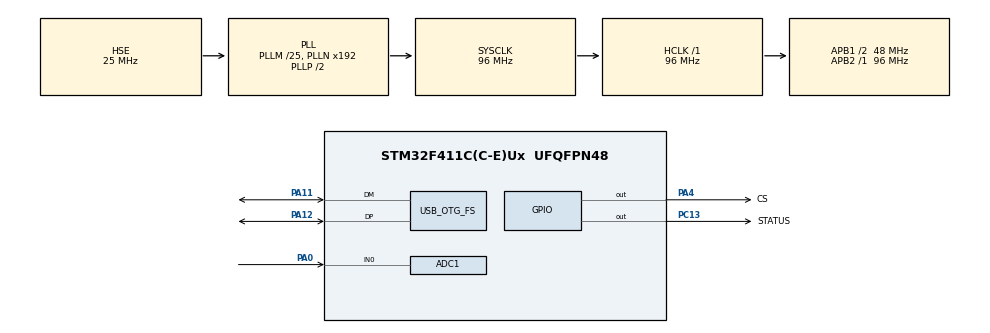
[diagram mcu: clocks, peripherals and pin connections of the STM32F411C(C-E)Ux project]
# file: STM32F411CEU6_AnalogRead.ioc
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ADC1.Channel-1\#ChannelRegularConversion=ADC_CHANNEL_0
ADC1.NbrOfConversionFlag=1
ADC1.Rank-1\#ChannelRegularConversion=1
ADC1.SamplingTime-1\#ChannelRegularConversion=ADC_SAMPLETIME_3CYCLES
ADC1.master=1
Mcu.Family=STM32F4
Mcu.Name=STM32F411C(C-E)Ux
Mcu.Package=UFQFPN48
NVIC.OTG_FS_IRQn=true\:0\:0\:false\:false\:true\:false\:true\:true
NVIC.PriorityGroup=NVIC_PRIORITYGROUP_4
NVIC.TIM4_IRQn=true\:0\:0\:false\:false\:true\:true\:true\:true
PA0-WKUP.Signal=ADCx_IN0
PA11.Mode=Device_Only
PA11.Signal=USB_OTG_FS_DM
PA12.Mode=Device_Only
PA12.Signal=USB_OTG_FS_DP
PA4.GPIO_Label=CS
PA4.Signal=GPIO_Output
PC13-ANTI_TAMP.GPIO_Label=STATUS
PC13-ANTI_TAMP.Signal=GPIO_Output
PH0\ -\ OSC_IN.Mode=HSE-External-Oscillator
PH0\ -\ OSC_IN.Signal=RCC_OSC_IN
PH1\ -\ OSC_OUT.Mode=HSE-External-Oscillator
PH1\ -\ OSC_OUT.Signal=RCC_OSC_OUT
ProjectManager.HeapSize=0x200
ProjectManager.StackSize=0x400
ProjectManager.TargetToolchain=STM32CubeIDE
RCC.48MHZClocksFreq_Value=48000000
RCC.AHBFreq_Value=96000000
RCC.APB1CLKDivider=RCC_HCLK_DIV2
RCC.APB1Freq_Value=48000000
RCC.APB1TimFreq_Value=96000000
RCC.APB2Freq_Value=96000000
RCC.APB2TimFreq_Value=96000000
RCC.CortexFreq_Value=96000000
RCC.HCLKFreq_Value=96000000
RCC.HSE_VALUE=25000000
RCC.HSI_VALUE=16000000
RCC.LSE_VALUE=32768
RCC.PLLM=25
RCC.SYSCLKFreq_VALUE=96000000
RCC.SYSCLKSource=RCC_SYSCLKSOURCE_PLLCLK
RCC.VCOOutputFreq_Value=192000000
SH.ADCx_IN0.0=ADC1_IN0,IN0
STMicroelectronics.X-CUBE-ALGOBUILD.1.3.0.LibraryCcDSPOoLibraryJjDSPOoLibrary=true
TIM4.Period=10000-1
TIM4.Prescaler=96-1
USB_DEVICE.CLASS_NAME_FS=CDC
USB_DEVICE.VirtualMode=Cdc
USB_DEVICE.VirtualModeFS=Cdc_FS
USB_OTG_FS.VirtualMode=Device_Only
VP_STMicroelectronics.X-CUBE-ALGOBUILD_VS_DSPOoLibraryJjLibrary_1.3.0_1.3.0.Mode=DSPOoLibraryJjLibrary
VP_TIM4_VS_ClockSourceINT.Mode=Internal
VP_USB_DEVICE_VS_USB_DEVICE_CDC_FS.Mode=CDC_FS
board=custom

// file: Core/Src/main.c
/* USER CODE BEGIN Header */
/**
 ******************************************************************************
 * @file           : main.c
 * @brief          : Main program body
 ******************************************************************************
 * @attention
 *
 * Copyright (c) 2024 STMicroelectronics.
 * All rights reserved.
 *
 * This software is licensed under terms that can be found in the LICENSE file
 * in the root directory of this software component.
 * If no LICENSE file comes with this software, it is provided AS-IS.
 *
 ******************************************************************************
 */
/* USER CODE END Header */
#include "main.h"
#include "usb_device.h"

/* USER CODE BEGIN Includes */
#include "usbd_cdc_if.h"
#include "string.h"
#include <stdio.h>
/* USER CODE END Includes */

/* USER CODE BEGIN PTD */
#define SAMPLE_RATE   1000
/* USER CODE END PTD */

 ADC_HandleTypeDef hadc1;

TIM_HandleTypeDef htim4;

/* USER CODE BEGIN PV */
static uint8_t timer_flag = 0;
/* USER CODE END PV */

void SystemClock_Config(void);
static void MX_GPIO_Init(void);
static void MX_TIM4_Init(void);
static void MX_ADC1_Init(void);

int main(void)
{
  /* USER CODE BEGIN 1 */
	uint16_t raw;
	char msg[10];
  /* USER CODE END 1 */

  /* MCU Configuration--------------------------------------------------------*/

  /* Reset of all peripherals, Initializes the Flash interface and the Systick. */
  HAL_Init();

  /* Configure the system clock */
  SystemClock_Config();

  /* Initialize all configured peripherals */
  MX_GPIO_Init();
  MX_USB_DEVICE_Init();
  MX_TIM4_Init();
  MX_ADC1_Init();

  /* Infinite loop */
  /* USER CODE BEGIN WHILE */
	while (1) {
		if (timer_flag == 1) {
			timer_flag = 0;
			HAL_ADC_Start(&hadc1);
			HAL_ADC_PollForConversion(&hadc1, HAL_MAX_DELAY);
			raw = HAL_ADC_GetValue(&hadc1);
			sprintf(msg, "%hu\r\n", raw);
			CDC_Transmit_FS((uint8_t*) msg, strlen(msg));
		}
    /* USER CODE END WHILE */

	}
}

void SystemClock_Config(void)
{
  RCC_OscInitTypeDef RCC_OscInitStruct = {0};
  RCC_ClkInitTypeDef RCC_ClkInitStruct = {0};

  /** Configure the main internal regulator output voltage
  */
  __HAL_RCC_PWR_CLK_ENABLE();
  __HAL_PWR_VOLTAGESCALING_CONFIG(PWR_REGULATOR_VOLTAGE_SCALE1);

  /** Initializes the RCC Oscillators according to the specified parameters
  * in the RCC_OscInitTypeDef structure.
  */
  RCC_OscInitStruct.OscillatorType = RCC_OSCILLATORTYPE_HSE;
  RCC_OscInitStruct.HSEState = RCC_HSE_ON;
  RCC_OscInitStruct.PLL.PLLState = RCC_PLL_ON;
  RCC_OscInitStruct.PLL.PLLSource = RCC_PLLSOURCE_HSE;
  RCC_OscInitStruct.PLL.PLLM = 25;
  RCC_OscInitStruct.PLL.PLLN = 192;
  RCC_OscInitStruct.PLL.PLLP = RCC_PLLP_DIV2;
  RCC_OscInitStruct.PLL.PLLQ = 4;
  if (HAL_RCC_OscConfig(&RCC_OscInitStruct) != HAL_OK)
  {
    Error_Handler();
  }

  /** Initializes the CPU, AHB and APB buses clocks
  */
  RCC_ClkInitStruct.ClockType = RCC_CLOCKTYPE_HCLK|RCC_CLOCKTYPE_SYSCLK
                              |RCC_CLOCKTYPE_PCLK1|RCC_CLOCKTYPE_PCLK2;
  RCC_ClkInitStruct.SYSCLKSource = RCC_SYSCLKSOURCE_PLLCLK;
  RCC_ClkInitStruct.AHBCLKDivider = RCC_SYSCLK_DIV1;
  RCC_ClkInitStruct.APB1CLKDivider = RCC_HCLK_DIV2;
  RCC_ClkInitStruct.APB2CLKDivider = RCC_HCLK_DIV1;

  if (HAL_RCC_ClockConfig(&RCC_ClkInitStruct, FLASH_LATENCY_3) != HAL_OK)
  {
    Error_Handler();
  }
}

static void MX_ADC1_Init(void)
{

  ADC_ChannelConfTypeDef sConfig = {0};

  /** Configure the global features of the ADC (Clock, Resolution, Data Alignment and number of conversion)
  */
  hadc1.Instance = ADC1;
  hadc1.Init.ClockPrescaler = ADC_CLOCK_SYNC_PCLK_DIV4;
  hadc1.Init.Resolution = ADC_RESOLUTION_12B;
  hadc1.Init.ScanConvMode = DISABLE;
  hadc1.Init.ContinuousConvMode = DISABLE;
  hadc1.Init.DiscontinuousConvMode = DISABLE;
  hadc1.Init.ExternalTrigConvEdge = ADC_EXTERNALTRIGCONVEDGE_NONE;
  hadc1.Init.ExternalTrigConv = ADC_SOFTWARE_START;
  hadc1.Init.DataAlign = ADC_DATAALIGN_RIGHT;
  hadc1.Init.NbrOfConversion = 1;
  hadc1.Init.DMAContinuousRequests = DISABLE;
  hadc1.Init.EOCSelection = ADC_EOC_SINGLE_CONV;
  if (HAL_ADC_Init(&hadc1) != HAL_OK)
  {
    Error_Handler();
  }

  /** Configure for the selected ADC regular channel its corresponding rank in the sequencer and its sample time.
  */
  sConfig.Channel = ADC_CHANNEL_0;
  sConfig.Rank = 1;
  sConfig.SamplingTime = ADC_SAMPLETIME_3CYCLES;
  if (HAL_ADC_ConfigChannel(&hadc1, &sConfig) != HAL_OK)
  {
    Error_Handler();
  }

}

static void MX_TIM4_Init(void)
{

  TIM_ClockConfigTypeDef sClockSourceConfig = {0};
  TIM_MasterConfigTypeDef sMasterConfig = {0};

  htim4.Instance = TIM4;
  htim4.Init.Prescaler = 96-1;
  htim4.Init.CounterMode = TIM_COUNTERMODE_UP;
  htim4.Init.Period = 10000-1;
  htim4.Init.ClockDivision = TIM_CLOCKDIVISION_DIV1;
  htim4.Init.AutoReloadPreload = TIM_AUTORELOAD_PRELOAD_DISABLE;
  if (HAL_TIM_Base_Init(&htim4) != HAL_OK)
  {
    Error_Handler();
  }
  sClockSourceConfig.ClockSource = TIM_CLOCKSOURCE_INTERNAL;
  if (HAL_TIM_ConfigClockSource(&htim4, &sClockSourceConfig) != HAL_OK)
  {
    Error_Handler();
  }
  sMasterConfig.MasterOutputTrigger = TIM_TRGO_RESET;
  sMasterConfig.MasterSlaveMode = TIM_MASTERSLAVEMODE_DISABLE;
  if (HAL_TIMEx_MasterConfigSynchronization(&htim4, &sMasterConfig) != HAL_OK)
  {
    Error_Handler();
  }
  /* USER CODE BEGIN TIM4_Init 2 */
	htim4.Instance->PSC = SystemCoreClock / (1e6) - 1;
	htim4.Instance->ARR = 1e6 / (SAMPLE_RATE) - 1;
	HAL_TIM_Base_Start_IT(&htim4);
  /* USER CODE END TIM4_Init 2 */

}

static void MX_GPIO_Init(void)
{
  GPIO_InitTypeDef GPIO_InitStruct = {0};

  /* GPIO Ports Clock Enable */
  __HAL_RCC_GPIOC_CLK_ENABLE();
  __HAL_RCC_GPIOH_CLK_ENABLE();
  __HAL_RCC_GPIOA_CLK_ENABLE();

  /*Configure GPIO pin Output Level */
  HAL_GPIO_WritePin(STATUS_GPIO_Port, STATUS_Pin, GPIO_PIN_RESET);

  /*Configure GPIO pin Output Level */
  HAL_GPIO_WritePin(CS_GPIO_Port, CS_Pin, GPIO_PIN_RESET);

  /*Configure GPIO pin : STATUS_Pin */
  GPIO_InitStruct.Pin = STATUS_Pin;
  GPIO_InitStruct.Mode = GPIO_MODE_OUTPUT_PP;
  GPIO_InitStruct.Pull = GPIO_NOPULL;
  GPIO_InitStruct.Speed = GPIO_SPEED_FREQ_LOW;
  HAL_GPIO_Init(STATUS_GPIO_Port, &GPIO_InitStruct);

  /*Configure GPIO pin : CS_Pin */
  GPIO_InitStruct.Pin = CS_Pin;
  GPIO_InitStruct.Mode = GPIO_MODE_OUTPUT_PP;
  GPIO_InitStruct.Pull = GPIO_NOPULL;
  GPIO_InitStruct.Speed = GPIO_SPEED_FREQ_LOW;
  HAL_GPIO_Init(CS_GPIO_Port, &GPIO_InitStruct);

}

/* USER CODE BEGIN 4 */
void HAL_TIM_PeriodElapsedCallback(TIM_HandleTypeDef *htim) {
	timer_flag = 1;
}
/* USER CODE END 4 */

void Error_Handler(void)
{
	__disable_irq();
	while (1) {
	}
}
